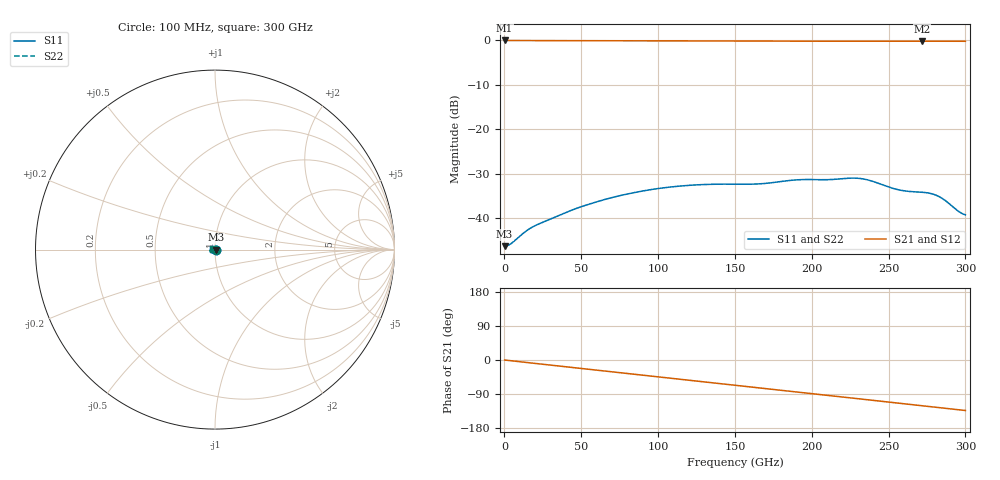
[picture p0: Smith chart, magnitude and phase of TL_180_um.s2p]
#  Hz  S  RI  R  50
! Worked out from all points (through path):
!   3000 points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, 100 MHz to 300 GHz, reference 50 ohm
!   highest |S21| = -0.04 dB at 100 MHz (marker M1); lowest = -0.2 dB at 271.8 GHz (marker M2)
!   group delay of S21, straight-line fit = 1.23 ps
!   lowest |S11| = -46.3 dB at 100 MHz (marker M3), VSWR 1.01, Z = 50.5 + j0.000196 ohm
!   |S11| at or under -10 dB: start of sweep to end of sweep
!   |S22| runs from -46.4 to -31.0 dB; largest |S21 - S12| = 0.00017
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1e8  0.00482 1.94e-06  0.9954 -0.000812  0.9954 -0.000814  0.00477 3.34e-06
4.2e9  0.00514 -5.07e-06  0.9943 -0.034  0.9943 -0.034  0.00512 4.14e-05
1.26e10  0.00666 -0.00147  0.9879 -0.0995  0.9879 -0.0994  0.00671 -0.00148
1.83e10  0.00717 -0.0034  0.982 -0.1428  0.9821 -0.1428  0.00716 -0.00345
5.01e10  0.00413 -0.0128  0.9155 -0.3782  0.9154 -0.3782  0.00411 -0.0128
7.19e10  -0.000592 -0.0173  0.8378 -0.5265  0.8377 -0.5265  -0.000615 -0.0173
1.001e11  -0.00808 -0.0199  0.7022 -0.6951  0.7022 -0.6951  -0.00807 -0.0199
1.242e11  -0.0139 -0.019  0.5594 -0.813  0.5594 -0.8129  -0.0139 -0.019
1.501e11  -0.0177 -0.0163  0.3835 -0.9066  0.3836 -0.9066  -0.0177 -0.0163
1.738e11  -0.0196 -0.0154  0.21 -0.9569  0.21 -0.9569  -0.0196 -0.0154
1.887e11  -0.0225 -0.0145  0.1 -0.9721  0.1001 -0.972  -0.0225 -0.0145
2.001e11  -0.0241 -0.0123  0.015 -0.9762  0.015 -0.9762  -0.0241 -0.0124
2.306e11  -0.0274 -0.00551  -0.2088 -0.9518  -0.2088 -0.9517  -0.0274 -0.00551
2.381e11  -0.0263 -0.00223  -0.264 -0.9395  -0.2639 -0.9396  -0.0263 -0.0022
2.501e11  -0.0223 6.42e-05  -0.3514 -0.9107  -0.3515 -0.9106  -0.0223 3.21e-05
2.607e11  -0.0202 -0.000126  -0.4248 -0.8773  -0.4248 -0.8774  -0.0201 -7.71e-05
2.718e11  -0.0195 0.000504  -0.4965 -0.8371  -0.4965 -0.837  -0.0195 0.000436
2.777e11  -0.0188 0.00178  -0.5336 -0.8148  -0.5334 -0.8147  -0.0188 0.00183
2.828e11  -0.0172 0.00294  -0.5659 -0.794  -0.5659 -0.7942  -0.0172 0.00304
2.872e11  -0.0152 0.00338  -0.5937 -0.7744  -0.5938 -0.7744  -0.0151 0.00337
2.949e11  -0.0119 0.00216  -0.6397 -0.7362  -0.6397 -0.7361  -0.012 0.00204
3e11  -0.0108 0.000651  -0.6681 -0.7094  -0.668 -0.7095  -0.011 0.000727
